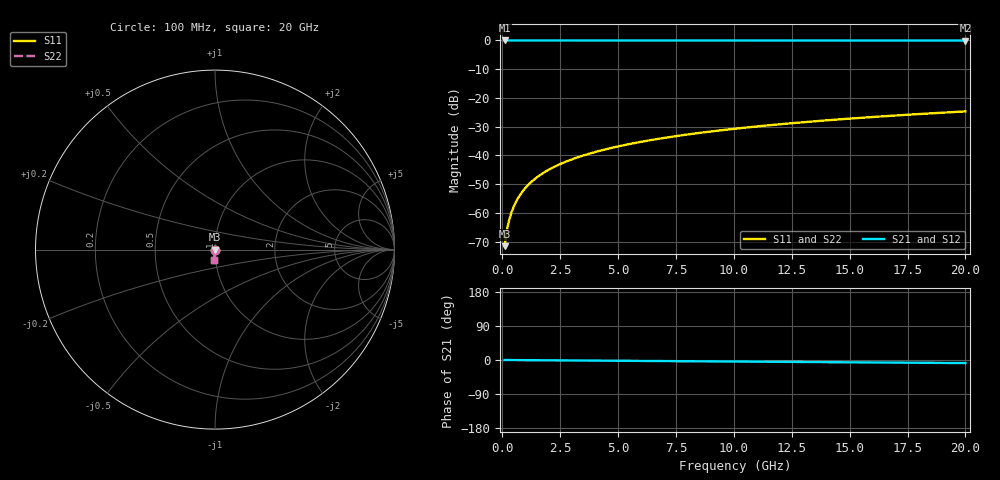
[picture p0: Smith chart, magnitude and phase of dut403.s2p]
! Touchstone file exported from HFSS 2026.1.0
!  File:  C:/ffzhzh/LocalFiles/Ansys_Project_Files/temp_train_TSV_403_1783020357_51716.aedt
!  Generated:  03:27:32 AM Jul  3, 2026
!  Design:  TSV
!  Project:  temp_train_TSV_403_1783020357_51716
! Variables:
!  h_bsmrdl = 2um
!  h_ox = 20um
!  h_rdl = 5um
!  h_sub = 77.2um
!  h_tmrdl = 5um
!  h_tsv = 77.2um
!  h_via = 3um
!  l_bsmrdl = 300um
!  l_sub = 425.02um
!  l_tmrdl = 200um
!  m_sub = 200um
!  pitch = 35.02um
!  r_tsv = 12.51um
!  s_tmrdl = 10um
!  w_bsmrdl = 18um
!  w_sub = 500um
!  w_tmrdl = 12um
!  x_tsv_center1 = 206um
!  x_tsv_center2 = 524um
!  x_tsv_center3 = 736um
!  x_tsv_center4 = 1054um
!  x_tsv_center5 = 1266um
!  x_tsv_center6 = 1584um
# GHz S MA R 50.000000
! Terminal data exported
! Port[1] = TSV1_1_T1
! Port[2] = TSV1_1_T2
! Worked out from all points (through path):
!   200 points, 100 MHz to 20 GHz, reference 50 ohm
!   highest |S21| = 0.00 dB at 100 MHz (marker M1); lowest = 0.0 dB at 20 GHz (marker M2)
!   group delay of S21, straight-line fit = 1.12 ps
!   lowest |S11| = -71.6 dB at 100 MHz (marker M3), VSWR 1.00, Z = 50 - j0.0244 ohm
!   |S11| at or under -10 dB: start of sweep to end of sweep
!   |S22| runs from -71.6 to -24.7 dB; largest |S21 - S12| = 2.1e-15
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0.1  0.000263 -68.3  0.9999 -0.0  0.9999 -0.0  0.000263 -68.3
! Gamma 0 0 0 0
! Port Impedance 50 0 50 0
0.2  0.0005057 -77.1  0.9999 -0.1  0.9999 -0.1  0.0005057 -77.1
0.3  0.000761 -79.8  0.9999 -0.1  0.9999 -0.1  0.000761 -79.8
0.4  0.001026 -81.0  0.9998 -0.2  0.9998 -0.2  0.001026 -81.0
0.5  0.001298 -81.8  0.9998 -0.2  0.9998 -0.2  0.001298 -81.8
0.7  0.001859 -82.9  0.9998 -0.3  0.9998 -0.3  0.001859 -82.9
0.8  0.002144 -83.3  0.9997 -0.3  0.9997 -0.3  0.002144 -83.3
1  0.00272 -84.2  0.9997 -0.4  0.9997 -0.4  0.00272 -84.2
1.2  0.003298 -84.9  0.9997 -0.5  0.9997 -0.5  0.003298 -84.9
1.4  0.003877 -85.4  0.9996 -0.6  0.9996 -0.6  0.003877 -85.4
1.7  0.004745 -86.2  0.9996 -0.7  0.9996 -0.7  0.004745 -86.2
2  0.005612 -86.7  0.9996 -0.8  0.9996 -0.8  0.005612 -86.7
2.7  0.007637 -87.7  0.9995 -1.1  0.9995 -1.1  0.007637 -87.7
3.5  0.009954 -88.5  0.9994 -1.4  0.9994 -1.4  0.009954 -88.5
4.2  0.01199 -89.1  0.9994 -1.7  0.9994 -1.7  0.01199 -89.1
5  0.01432 -89.6  0.9993 -2.0  0.9993 -2.0  0.01432 -89.6
6.8  0.01958 -90.7  0.9991 -2.8  0.9991 -2.8  0.01958 -90.7
8.3  0.02398 -91.5  0.9989 -3.4  0.9989 -3.4  0.02398 -91.5
10.1  0.02926 -92.4  0.9987 -4.1  0.9987 -4.1  0.02926 -92.4
13.4  0.03894 -93.9  0.9982 -5.4  0.9982 -5.4  0.03894 -93.9
16.7  0.04861 -95.4  0.9977 -6.8  0.9977 -6.8  0.04861 -95.4
20  0.05827 -96.8  0.997 -8.1  0.997 -8.1  0.05827 -96.9
